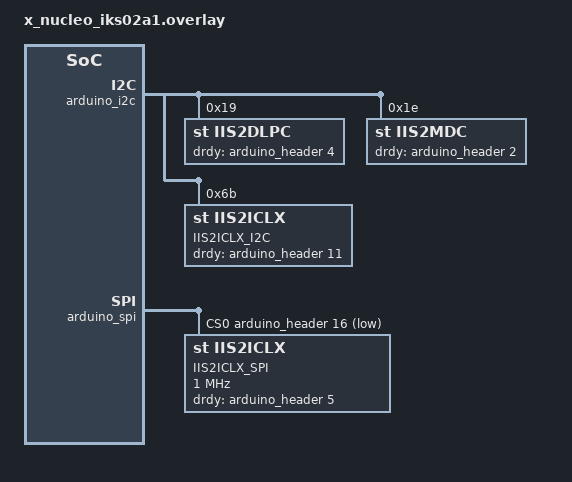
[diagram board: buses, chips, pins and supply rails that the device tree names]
/*
 * Copyright (c) 2020 STMicroelectronics
 *
 * SPDX-License-Identifier: Apache-2.0
 */

/*
 * Mode 1: Standard Mode
 *
 *   JP7 => 1-2, 3-4 (I2C1 = I2C2, I2Cx=GND)
 *   JP8 => 1-2, 3-4 (I2C1 = I2C2, I2Cx=GND)
 *
 * ISM330DHCX, IIS2MDC and IIS2DLPC sensors are accessible from the main board mcu.
 */

&arduino_i2c {

	iis2dlpc@19 {
		compatible = "st,iis2dlpc";
		reg = <0x19>;
		drdy-gpios =  <&arduino_header 4 GPIO_ACTIVE_HIGH>; /* A4 - INT2 */
		drdy-int =  <2>;
		label = "IIS2DLPC";
	};

	iis2mdc@1e {
		compatible = "st,iis2mdc";
		reg = <0x1e>;
		drdy-gpios =  <&arduino_header 2 GPIO_ACTIVE_HIGH>; /* A2 */
		label = "IIS2MDC";
	};

	iis2iclx@6b {
		compatible = "st,iis2iclx";
		reg = <0x6b>;
		drdy-gpios =  <&arduino_header 11 GPIO_ACTIVE_HIGH>; /* D5 - INT2 */
		label = "IIS2ICLX_I2C";
		int-pin = <2>;
	};
};

#if 1
&arduino_spi {
	status = "okay";
	cs-gpios = <&arduino_header 16 GPIO_ACTIVE_LOW>;                        /* D10 */

	iis2iclx@0 {
		status = "ok";
		compatible = "st,iis2iclx";
		reg = <0x0>;
		label = "IIS2ICLX_SPI";
		spi-max-frequency = <1000000>;
		drdy-gpios = <&arduino_header 5 GPIO_ACTIVE_HIGH>;       /* A5 */
		int-pin = <1>;
	};
};
#endif
